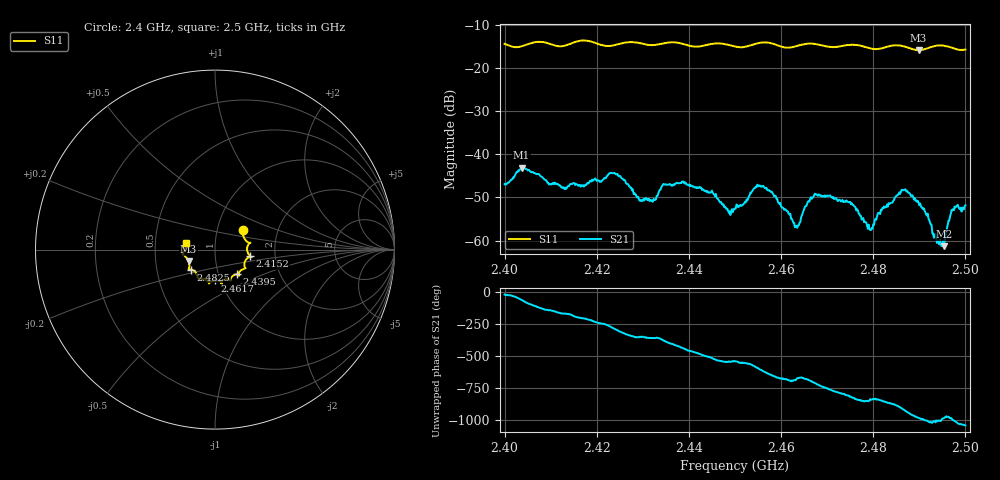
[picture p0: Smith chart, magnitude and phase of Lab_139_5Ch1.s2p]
# Hz S RI R 50
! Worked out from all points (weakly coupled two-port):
!   601 points, 2.4 GHz to 2.5 GHz, reference 50 ohm
!   highest |S21| = -43.11 dB at 2.4037 GHz (marker M1); lowest = -61.3 dB at 2.4953 GHz (marker M2)
!   lowest |S11| = -15.9 dB at 2.4898 GHz (marker M3), VSWR 1.38, Z = 36.9 - j4.91 ohm
!   |S11| at or under -10 dB: start of sweep to end of sweep
!   S12 and S22 are empty: the file has one direction only
!   S11 on the Smith chart (normalised r, x): 2.4 GHz: 1.33, +0.30; 2.4152 GHz: 1.48, -0.11; 2.4395 GHz: 1.23, -0.35; 2.4617 GHz: 0.94, -0.33; 2.4825 GHz: 0.75, -0.17; 2.5 GHz: 0.72, +0.05
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2.4e9  0.1559 0.1097  0.00421 -0.00164  0 0  0 0
2.403667e9  0.1707 0.0522  0.00317 -0.00623  0 0  0 0
2.415167e9  0.1956 -0.0362  -0.00454 0.000929  0 0  0 0
2.416667e9  0.2038 -0.0416  -0.00392 0.00192  0 0  0 0
2.4235e9  0.1633 -0.0805  0.00113 0.00593  0 0  0 0
2.4295e9  0.1615 -0.107  0.00289 0.000564  0 0  0 0
2.433333e9  0.1329 -0.1327  0.0035 4.69e-05  0 0  0 0
2.4395e9  0.1229 -0.1378  6.77e-06 -0.00445  0 0  0 0
2.45e9  0.0667 -0.1645  -0.00233 -3.66e-05  0 0  0 0
2.455667e9  0.0372 -0.1931  -0.00156 0.0039  0 0  0 0
2.461667e9  0.000775 -0.1721  0.00174 0.00107  0 0  0 0
2.4635e9  -0.0226 -0.179  0.000948 0.00104  0 0  0 0
2.466667e9  -0.0338 -0.1887  0.00279 0.00123  0 0  0 0
2.474667e9  -0.0902 -0.1617  0.000148 -0.00278  0 0  0 0
2.479333e9  -0.1032 -0.1332  -0.000558 -0.00121  0 0  0 0
2.4825e9  -0.1324 -0.1112  -0.00166 -0.00174  0 0  0 0
2.483333e9  -0.1398 -0.1104  -0.0022 -0.00158  0 0  0 0
2.486667e9  -0.1452 -0.1033  -0.00365 0.00123  0 0  0 0
2.489833e9  -0.1475 -0.0649  -0.00046 0.00273  0 0  0 0
2.495333e9  -0.1802 -0.0201  -9.23e-05 0.000858  0 0  0 0
2.497333e9  -0.1693 -0.00614  0.000311 0.0023  0 0  0 0
2.5e9  -0.1601 0.0352  0.00196 0.00166  0 0  0 0
